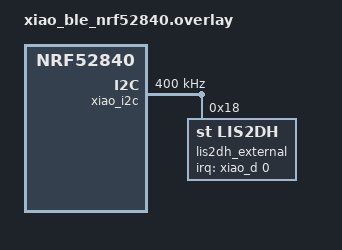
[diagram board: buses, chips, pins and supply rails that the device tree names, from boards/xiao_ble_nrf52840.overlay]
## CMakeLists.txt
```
# Copyright The Zephyr Project Contributors
# SPDX-License-Identifier: Apache-2.0

cmake_minimum_required(VERSION 3.28.0)

find_package(Zephyr REQUIRED HINTS $ENV{ZEPHYR_BASE})
project(lis2dh_fifo)

target_sources(app PRIVATE src/main.c)
```

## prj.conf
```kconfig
# Copyright The Zephyr Project Contributors
# SPDX-License-Identifier: Apache-2.0

CONFIG_SENSOR=y
CONFIG_LIS2DH_FIFO=y
CONFIG_LIS2DH_TRIGGER_GLOBAL_THREAD=y
CONFIG_CONSOLE=y
CONFIG_PRINTK=y
CONFIG_CBPRINTF_FP_SUPPORT=y
# The HOLYIOT-25008 sample only uses LIS2DH. Its SoC has no nRF TEMP peripheral.
CONFIG_TEMP_NRF5=n
```

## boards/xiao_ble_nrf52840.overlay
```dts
/*
 * Copyright The Zephyr Project Contributors
 * SPDX-License-Identifier: Apache-2.0
 */

#include <zephyr/dt-bindings/i2c/i2c.h>

/ {
	aliases {
		accel0 = &lis2dh_external;
	};
};

/* External LIS2DH12: SDA=D4, SCL=D5, INT1=D0. */
&xiao_i2c {
	clock-frequency = <I2C_BITRATE_FAST>;
	lis2dh_external: accelerometer@18 {
		compatible = "st,lis2dh";
		reg = <0x18>;
		irq-gpios = <&xiao_d 0 GPIO_ACTIVE_HIGH>;
		fifo-watermark = <16>;
	};
};
```

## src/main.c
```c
/*
 * Copyright The Zephyr Project Contributors
 *
 * SPDX-License-Identifier: Apache-2.0
 */

#include <inttypes.h>
#include <stdio.h>

#include <zephyr/device.h>
#include <zephyr/drivers/sensor.h>
#include <zephyr/kernel.h>
#include <zephyr/rtio/rtio.h>

#define ACCEL_STREAM_TRIGGERS \
	{ SENSOR_TRIG_FIFO_WATERMARK, SENSOR_STREAM_DATA_INCLUDE }, \
	{ SENSOR_TRIG_FIFO_FULL, SENSOR_STREAM_DATA_INCLUDE }

SENSOR_DT_STREAM_IODEV(accel_stream, DT_ALIAS(accel0), ACCEL_STREAM_TRIGGERS);
RTIO_DEFINE_WITH_MEMPOOL(stream_ctx, 1, 1, 20, 256, sizeof(void *));

static const struct device *const accel = DEVICE_DT_GET(DT_ALIAS(accel0));

static void print_fifo_samples(const uint8_t *buffer)
{
	const struct sensor_decoder_api *decoder;
	struct sensor_three_axis_data accel_data;
	struct sensor_chan_spec channel = { SENSOR_CHAN_ACCEL_XYZ, 0 };
	uint16_t frame_count;
	uint32_t fit = 0U;
	int status;

	status = sensor_get_decoder(accel, &decoder);
	if (status < 0) {
		printf("Cannot get LIS2DH decoder: %d\n", status);
		return;
	}

	status = decoder->get_frame_count(buffer, channel, &frame_count);
	if (status < 0) {
		printf("Cannot get FIFO frame count: %d\n", status);
		return;
	}

	while (fit < frame_count) {
		status = decoder->decode(buffer, channel, &fit, 1U, &accel_data);
		if (status < 0) {
			printf("Cannot decode FIFO frame: %d\n", status);
			return;
		}

		printf("%" PRIu64 " ns: (%" PRIq(6) ", %" PRIq(6) ", %" PRIq(6)
		       ") m/s^2\n", PRIsensor_three_axis_data_arg(accel_data, 0));
	}
}

int main(void)
{
	struct rtio_sqe *handle;
	struct rtio_cqe *cqe;
	uint8_t *buffer = NULL;
	uint32_t buffer_len = 0U;
	int status;

	if (!device_is_ready(accel)) {
		printf("LIS2DH device is not ready\n");
		return 0;
	}

	status = sensor_stream(&accel_stream, &stream_ctx, NULL, &handle);
	if (status < 0) {
		printf("Cannot start LIS2DH FIFO stream: %d\n", status);
		return 0;
	}

	printf("LIS2DH Sensor Async FIFO stream started\n");

	while (true) {
		cqe = rtio_cqe_consume_block(&stream_ctx);
		status = cqe->result;
		if (status == 0) {
			status = rtio_cqe_get_mempool_buffer(&stream_ctx, cqe, &buffer,
							   &buffer_len);
		}
		rtio_cqe_release(&stream_ctx, cqe);
		if (status < 0) {
			printf("FIFO stream failed: %d\n", status);
			return 0;
		}

		print_fifo_samples(buffer);
		rtio_release_buffer(&stream_ctx, buffer, buffer_len);
	}
}
```
